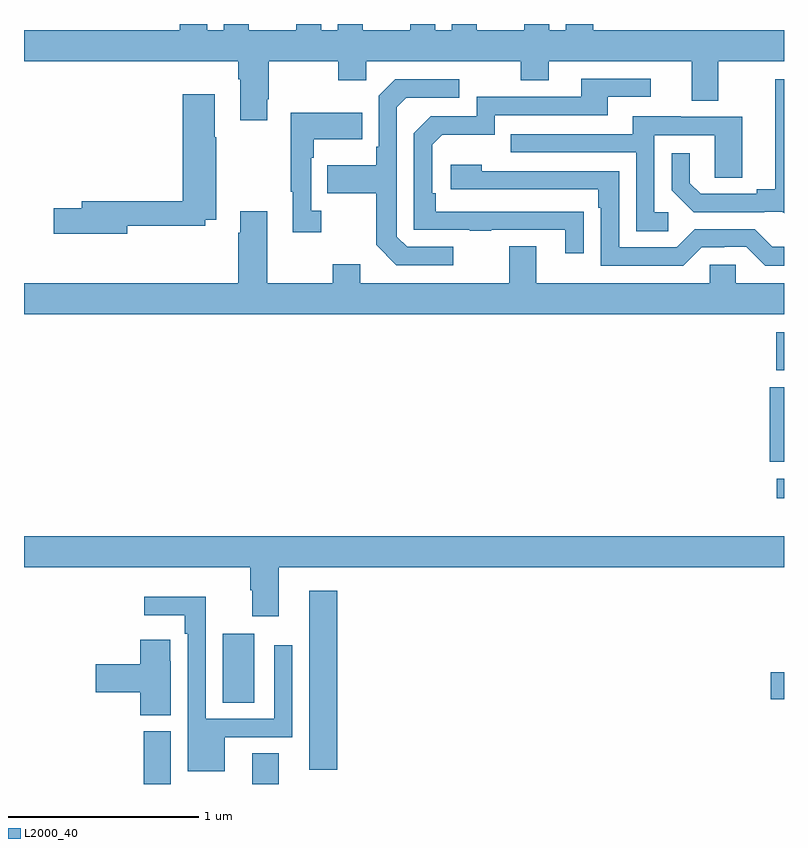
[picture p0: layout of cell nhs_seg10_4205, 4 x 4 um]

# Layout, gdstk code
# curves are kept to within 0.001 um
import gdstk
lib = gdstk.Library(unit=1e-6, precision=1e-09)
def R(c, l, rs):  # rectangles x0, y0, x1, y1
    for r in rs: c.add(gdstk.rectangle(r[:2], r[2:], *l))
def P(c, l, *ps):  # polygons
    for p in ps: c.add(gdstk.Polygon(p, *l))
L2000_40 = (2000, 40)

nhs_seg10_4205 = lib.new_cell('nhs_seg10_4205')
R(nhs_seg10_4205, L2000_40, [(345.629,1308.5,345.772,1308.777), (346.202,1308.5,346.342,1308.662), (346.502,1308.576,346.649,1309.516), (346.046,1308.928,346.213,1309.291), (348.93,1308.946,349,1309.088), (348.963,1310.003,349,1310.107), (348.926,1310.195,349,1310.587), (348.959,1310.678,349,1310.877)])
P(nhs_seg10_4205, L2000_40, [(348.515,1312.096),(348.655,1312.096),(348.655,1312.304),(349,1312.304),(349,1312.468),(347.996,1312.468),(347.996,1312.5),(347.852,1312.5),(347.852,1312.468),(347.764,1312.468),(347.764,1312.5),(347.633,1312.5),(347.633,1312.468),(347.383,1312.468),(347.383,1312.5),(347.252,1312.5),(347.252,1312.468),(347.164,1312.468),(347.164,1312.5),(347.033,1312.5),(347.033,1312.468),(346.783,1312.468),(346.783,1312.5),(346.652,1312.5),(346.652,1312.468),(346.564,1312.468),(346.564,1312.5),(346.433,1312.5),(346.433,1312.468),(346.183,1312.468),(346.183,1312.5),(346.052,1312.5),(346.052,1312.468),(345.964,1312.468),(345.964,1312.5),(345.821,1312.5),(345.821,1312.468),(345,1312.468),(345,1312.304),(346.127,1312.304),(346.127,1312.208),(346.139,1312.208),(346.139,1311.993),(346.279,1311.993),(346.279,1312.105),(346.287,1312.105),(346.287,1312.304),(346.654,1312.304),(346.654,1312.205),(346.8,1312.205),(346.8,1312.304),(347.614,1312.304),(347.614,1312.205),(347.761,1312.205),(347.761,1312.304),(348.515,1312.304)],
  [(347.945,1311.512),(347.168,1311.513),(347.168,1311.61),(347.148,1311.61),(347.148,1311.864),(347.201,1311.917),(347.478,1311.917),(347.478,1312.02),(348.073,1312.02),(348.073,1312.116),(348.298,1312.116),(348.298,1312.212),(347.933,1312.212),(347.933,1312.116),(347.382,1312.116),(347.382,1312.014),(347.142,1312.014),(347.052,1311.924),(347.052,1311.417),(347.347,1311.417),(347.347,1311.412),(347.459,1311.412),(347.459,1311.417),(347.849,1311.417),(347.849,1311.294),(347.945,1311.294)],
  [(349,1312.209),(348.953,1312.209),(348.953,1311.629),(348.857,1311.629),(348.857,1311.606),(348.562,1311.606),(348.505,1311.663),(348.505,1311.82),(348.408,1311.82),(348.408,1311.626),(348.524,1311.51),(348.896,1311.51),(348.896,1311.513),(348.99,1311.513),(349,1311.503)],
  [(347.26,1311.327),(347.016,1311.327),(346.962,1311.381),(346.962,1312.062),(347.013,1312.113),(347.29,1312.113),(347.29,1312.209),(346.953,1312.209),(346.866,1312.122),(346.866,1311.853),(346.854,1311.853),(346.854,1311.757),(346.597,1311.757),(346.597,1311.61),(346.854,1311.61),(346.854,1311.337),(346.959,1311.231),(347.26,1311.231)],
  [(345.544,1311.438),(345.954,1311.438),(345.954,1311.47),(346.011,1311.47),(346.011,1311.905),(346.003,1311.905),(346.003,1312.129),(345.836,1312.129),(345.836,1311.566),(345.305,1311.566),(345.305,1311.53),(345.156,1311.53),(345.156,1311.395),(345.544,1311.395)],
  [(346.564,1311.518),(346.512,1311.518),(346.512,1311.797),(346.525,1311.797),(346.525,1311.893),(346.781,1311.893),(346.781,1312.033),(346.404,1312.033),(346.404,1311.617),(346.415,1311.617),(346.415,1311.405),(346.564,1311.405)],
  [(348.391,1311.51),(348.318,1311.51),(348.318,1311.915),(348.636,1311.915),(348.636,1311.691),(348.781,1311.691),(348.781,1312.011),(348.457,1312.011),(348.457,1312.015),(348.203,1312.015),(348.203,1311.921),(347.563,1311.921),(347.563,1311.825),(348.222,1311.825),(348.222,1311.409),(348.391,1311.409)],
  [(349,1311.327),(348.939,1311.327),(348.846,1311.42),(348.531,1311.42),(348.435,1311.324),(348.132,1311.324),(348.132,1311.726),(347.408,1311.726),(347.408,1311.76),(347.247,1311.76),(347.247,1311.63),(348.023,1311.63),(348.023,1311.533),(348.036,1311.533),(348.036,1311.228),(348.471,1311.228),(348.567,1311.324),(348.686,1311.324),(348.686,1311.327),(348.801,1311.327),(348.901,1311.227),(349,1311.227)],
  [(349,1311.136),(348.747,1311.136),(348.747,1311.234),(348.609,1311.234),(348.609,1311.136),(347.695,1311.136),(347.695,1311.331),(347.555,1311.331),(347.555,1311.136),(346.771,1311.136),(346.771,1311.235),(346.624,1311.235),(346.624,1311.136),(346.279,1311.136),(346.279,1311.514),(346.139,1311.514),(346.139,1311.401),(346.127,1311.401),(346.127,1311.136),(345,1311.136),(345,1310.972),(349,1310.972)],
  [(346.342,1309.64),(349,1309.64),(349,1309.804),(345,1309.804),(345,1309.64),(346.19,1309.64),(346.19,1309.52),(346.202,1309.52),(346.202,1309.383),(346.342,1309.383)],
  [(346.057,1308.747),(346.413,1308.747),(346.413,1309.231),(346.317,1309.231),(346.317,1308.843),(345.957,1308.843),(345.957,1309.486),(345.633,1309.486),(345.633,1309.388),(345.845,1309.388),(345.845,1309.292),(345.861,1309.292),(345.861,1308.566),(346.057,1308.566)],
  [(345.772,1309.145),(345.771,1309.145),(345.771,1309.258),(345.611,1309.258),(345.611,1309.13),(345.378,1309.13),(345.378,1308.983),(345.611,1308.983),(345.611,1308.862),(345.772,1308.862)])

lib.write_gds('nhs_seg10_4205.gds')
